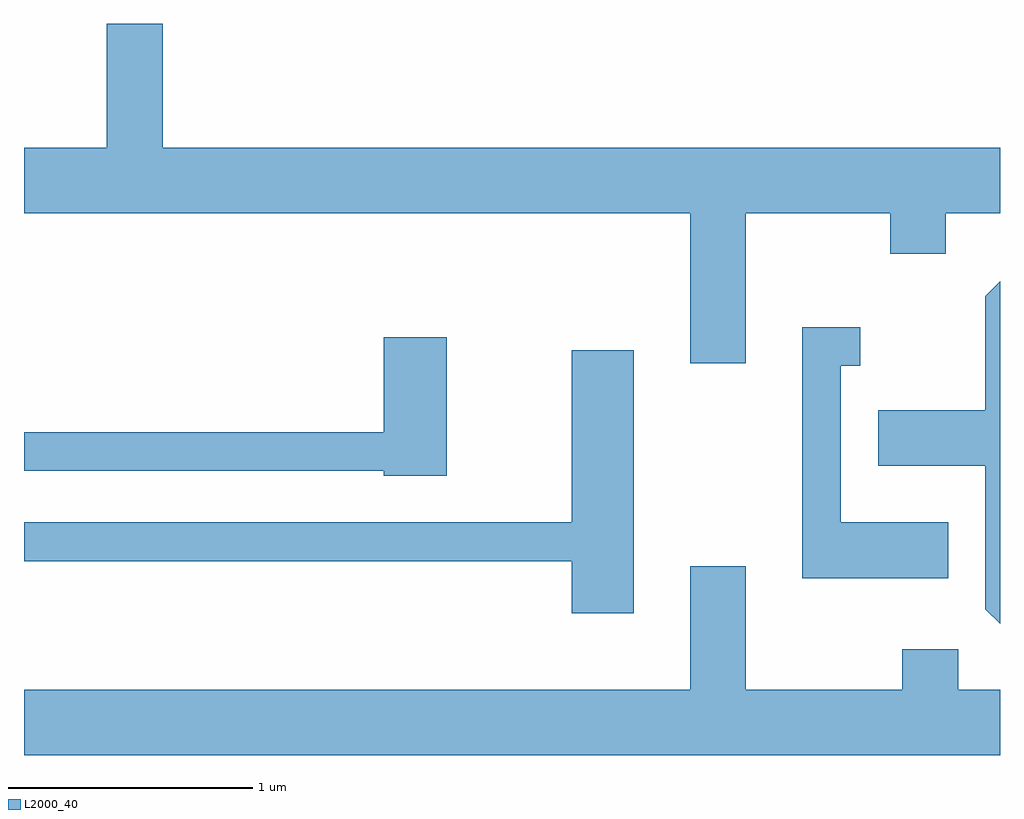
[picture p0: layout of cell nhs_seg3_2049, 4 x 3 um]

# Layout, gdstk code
import gdstk
lib = gdstk.Library(unit=1e-6, precision=1e-09)
def P(c, l, *ps):  # polygons
    for p in ps: c.add(gdstk.Polygon(p, *l))
L2000_40 = (2000, 40)

nhs_seg3_2049 = lib.new_cell('nhs_seg3_2049')
P(nhs_seg3_2049, L2000_40, [(248.569,1137.116),(249.161,1137.116),(249.161,1136.951),(249.389,1136.951),(249.389,1137.116),(249.611,1137.116),(249.611,1137.384),(246.179,1137.384),(246.179,1137.892),(245.951,1137.892),(245.951,1137.384),(245.611,1137.384),(245.611,1137.116),(248.341,1137.116),(248.341,1136.501),(248.569,1136.501)],
  [(249.611,1136.837),(249.551,1136.777),(249.551,1136.309),(249.111,1136.309),(249.111,1136.081),(249.551,1136.081),(249.551,1135.494),(249.611,1135.434)],
  [(249.399,1135.849),(248.959,1135.849),(248.959,1136.491),(249.038,1136.491),(249.038,1136.649),(248.801,1136.649),(248.801,1135.621),(249.399,1135.621)],
  [(247.344,1136.609),(247.086,1136.609),(247.086,1136.219),(245.611,1136.219),(245.611,1136.061),(247.086,1136.061),(247.086,1136.041),(247.344,1136.041)],
  [(248.109,1136.554),(247.856,1136.554),(247.856,1135.849),(245.611,1135.849),(245.611,1135.691),(247.856,1135.691),(247.856,1135.476),(248.109,1135.476)],
  [(249.611,1135.164),(249.439,1135.164),(249.439,1135.329),(249.211,1135.329),(249.211,1135.164),(248.569,1135.164),(248.569,1135.669),(248.341,1135.669),(248.341,1135.164),(245.611,1135.164),(245.611,1134.896),(249.611,1134.896)])

lib.write_gds('nhs_seg3_2049.gds')
